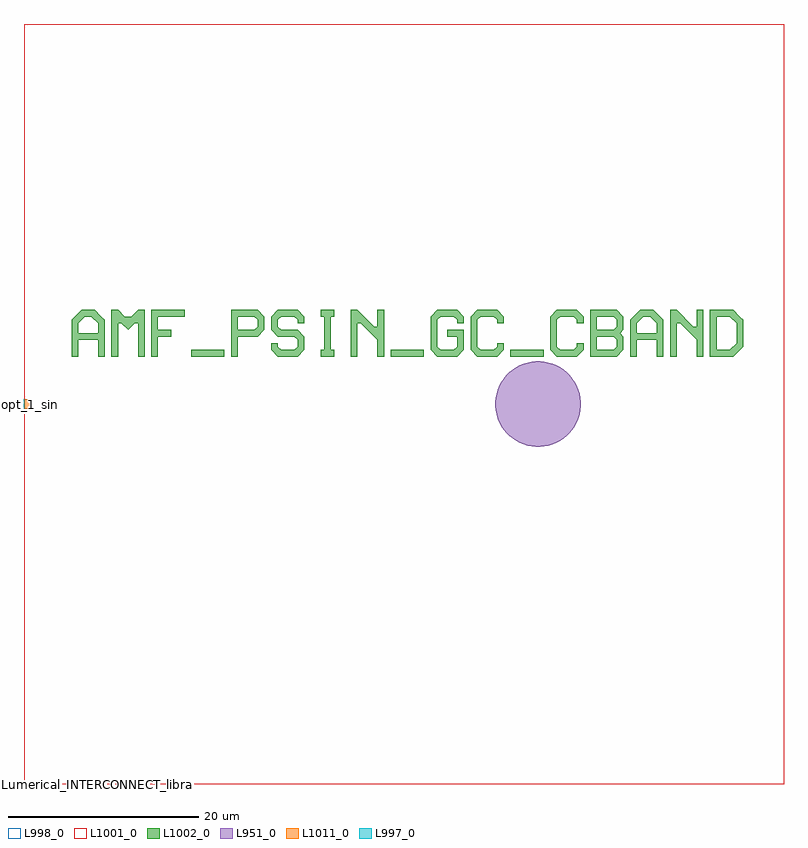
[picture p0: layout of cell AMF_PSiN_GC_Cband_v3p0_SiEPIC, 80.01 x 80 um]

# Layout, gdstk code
import gdstk
lib = gdstk.Library(unit=1e-6, precision=1e-09)
def R(c, l, rs):  # rectangles x0, y0, x1, y1
    for r in rs: c.add(gdstk.rectangle(r[:2], r[2:], *l))
def P(c, l, *ps):  # polygons
    for p in ps: c.add(gdstk.Polygon(p, *l))
L951_0 = (951, 0)
L997_0 = (997, 0)
L998_0 = (998, 0)
L1001_0 = (1001, 0)
L1002_0 = (1002, 0)
L1011_0 = (1011, 0)

amf_psin_gc_cband_v3p0 = lib.new_cell('AMF_PSiN_GC_Cband_v3p0')
R(amf_psin_gc_cband_v3p0, L1001_0, [(0,-40,80,40)])
R(amf_psin_gc_cband_v3p0, L1002_0, [(17.6,5,21.1,5.7), (38.6,5,42.1,5.7), (51.2,5,54.7,5.7)])
P(amf_psin_gc_cband_v3p0, L1002_0, [(5,5),(5,8.85),(6.05,9.9),(7.45,9.9),(8.15,9.2),(6.4,9.2),(5.7,8.5),(5.7,7.45),(7.8,7.45),(7.8,8.5),(7.1,9.2),(8.15,9.2),(8.5,8.85),(8.5,5),(7.8,5),(7.8,6.75),(5.7,6.75),(5.7,5)],
  [(9.2,5),(9.2,9.9),(9.9,9.9),(10.6,9.2),(11.3,9.2),(12,9.9),(12.7,9.9),(12.7,5),(12,5),(12,8.5),(11.65,8.5),(10.95,7.8),(10.25,8.5),(9.9,8.5),(9.9,5)],
  [(13.4,5),(13.4,9.9),(16.9,9.9),(16.9,9.2),(14.1,9.2),(14.1,7.8),(15.5,7.8),(15.5,7.1),(14.1,7.1),(14.1,5)],
  [(21.8,5),(21.8,9.9),(24.6,9.9),(25.3,9.2),(25.3,7.8),(24.6,7.1),(22.5,7.1),(22.5,7.8),(24.25,7.8),(24.6,8.15),(24.6,8.85),(24.25,9.2),(22.5,9.2),(22.5,5)],
  [(26.7,5),(26,5.7),(26,6.4),(26.7,6.4),(26.7,6.05),(27.05,5.7),(28.45,5.7),(28.8,6.05),(28.8,6.75),(28.45,7.1),(26.7,7.1),(26,7.8),(26,9.2),(26.7,9.9),(28.8,9.9),(29.5,9.2),(29.5,8.5),(28.8,8.5),(28.8,8.85),(28.45,9.2),(27.05,9.2),(26.7,8.85),(26.7,8.15),(27.05,7.8),(28.8,7.8),(29.5,7.1),(29.5,5.7),(28.8,5)],
  [(31.25,5),(31.25,5.7),(31.6,5.7),(31.6,9.2),(31.25,9.2),(31.25,9.9),(32.65,9.9),(32.65,9.2),(32.3,9.2),(32.3,5.7),(32.65,5.7),(32.65,5)],
  [(34.4,5),(34.4,9.9),(35.1,9.9),(36.85,8.15),(37.2,8.15),(37.2,9.9),(37.9,9.9),(37.9,5),(37.2,5),(37.2,6.75),(35.45,8.5),(35.1,8.5),(35.1,5)],
  [(43.5,5),(42.8,5.7),(42.8,9.2),(43.5,9.9),(45.6,9.9),(46.3,9.2),(46.3,8.5),(45.6,8.5),(45.6,8.85),(45.25,9.2),(43.85,9.2),(43.5,8.85),(43.5,6.05),(43.85,5.7),(45.25,5.7),(45.6,6.05),(45.6,7.1),(44.55,7.1),(44.55,7.8),(46.3,7.8),(46.3,5.7),(45.6,5)],
  [(47.7,5),(47,5.7),(47,9.2),(47.7,9.9),(49.8,9.9),(50.5,9.2),(50.5,8.5),(49.8,8.5),(49.8,8.85),(49.45,9.2),(48.05,9.2),(47.7,8.85),(47.7,6.05),(48.05,5.7),(49.45,5.7),(49.8,6.05),(49.8,6.4),(50.5,6.4),(50.5,5.7),(49.8,5)],
  [(56.1,5),(55.4,5.7),(55.4,9.2),(56.1,9.9),(58.2,9.9),(58.9,9.2),(58.9,8.5),(58.2,8.5),(58.2,8.85),(57.85,9.2),(56.45,9.2),(56.1,8.85),(56.1,6.05),(56.45,5.7),(57.85,5.7),(58.2,6.05),(58.2,6.4),(58.9,6.4),(58.9,5.7),(58.2,5)],
  [(59.6,5),(59.6,9.9),(62.4,9.9),(63.1,9.2),(60.3,9.2),(60.3,7.8),(62.05,7.8),(62.4,8.15),(62.4,8.85),(62.05,9.2),(63.1,9.2),(63.1,7.8),(62.75,7.45),(63.1,7.1),(60.3,7.1),(60.3,5.7),(62.05,5.7),(62.4,6.05),(62.4,6.75),(62.05,7.1),(63.1,7.1),(63.1,5.7),(62.4,5)],
  [(63.8,5),(63.8,8.85),(64.85,9.9),(66.25,9.9),(66.95,9.2),(65.2,9.2),(64.5,8.5),(64.5,7.45),(66.6,7.45),(66.6,8.5),(65.9,9.2),(66.95,9.2),(67.3,8.85),(67.3,5),(66.6,5),(66.6,6.75),(64.5,6.75),(64.5,5)],
  [(68,5),(68,9.9),(68.7,9.9),(70.45,8.15),(70.8,8.15),(70.8,9.9),(71.5,9.9),(71.5,5),(70.8,5),(70.8,6.75),(69.05,8.5),(68.7,8.5),(68.7,5)],
  [(72.2,5),(72.2,9.9),(74.65,9.9),(75.35,9.2),(72.9,9.2),(72.9,5.7),(74.3,5.7),(75,6.4),(75,8.5),(74.3,9.2),(75.35,9.2),(75.7,8.85),(75.7,6.05),(74.65,5)])
R(amf_psin_gc_cband_v3p0, L1011_0, [(0,-0.5,1,0.5)])
amf_psin_gc_cband_v3p0.add(gdstk.Label('opt_1_sin', (0,0), layer=1011, texttype=0))

amf_psin_gc_cband_v3p0_s = lib.new_cell('AMF_PSiN_GC_Cband_v3p0_SiEPIC')
P(amf_psin_gc_cband_v3p0_s, L951_0, [(53.889,-4.51),(53.449,-4.467),(53.015,-4.38),(52.592,-4.252),(52.184,-4.083),(51.794,-3.874),(51.426,-3.629),(51.084,-3.348),(50.772,-3.036),(50.491,-2.694),(50.246,-2.326),(50.037,-1.936),(49.868,-1.528),(49.74,-1.105),(49.653,-0.671),(49.61,-0.231),(49.61,0.211),(49.653,0.651),(49.74,1.085),(49.868,1.508),(50.037,1.916),(50.246,2.306),(50.491,2.674),(50.772,3.016),(51.084,3.328),(51.426,3.609),(51.794,3.854),(52.184,4.063),(52.592,4.232),(53.015,4.36),(53.449,4.447),(53.889,4.49),(54.331,4.49),(54.771,4.447),(55.205,4.36),(55.628,4.232),(56.036,4.063),(56.426,3.854),(56.794,3.609),(57.136,3.328),(57.448,3.016),(57.729,2.674),(57.974,2.306),(58.183,1.916),(58.352,1.508),(58.48,1.085),(58.567,0.651),(58.61,0.211),(58.61,-0.231),(58.567,-0.671),(58.48,-1.105),(58.352,-1.528),(58.183,-1.936),(57.974,-2.326),(57.729,-2.694),(57.448,-3.036),(57.136,-3.348),(56.794,-3.629),(56.426,-3.874),(56.036,-4.083),(55.628,-4.252),(55.205,-4.38),(54.771,-4.467),(54.331,-4.51)])
R(amf_psin_gc_cband_v3p0_s, L998_0, [(0,-40,80,40)])
amf_psin_gc_cband_v3p0_s.add(gdstk.FlexPath([(0.01,0),(-0.01,0)], 1, ends="flush", simple_path=True, layer=997, datatype=0))  # L997_0
amf_psin_gc_cband_v3p0_s.add(gdstk.Reference(amf_psin_gc_cband_v3p0, (0,0)))
amf_psin_gc_cband_v3p0_s.add(gdstk.Label('Lumerical_INTERCONNECT_library=Design kits/AMF_CML', (0,-40), layer=998, texttype=0))
amf_psin_gc_cband_v3p0_s.add(gdstk.Label('Component=AMF_PSiN_GC_Cband_v3p0', (0,-39.9), layer=998, texttype=0))
amf_psin_gc_cband_v3p0_s.add(gdstk.Label('opt_1_sin', (0,0), layer=997, texttype=0))
amf_psin_gc_cband_v3p0_s.add(gdstk.Label('opt_1_sin', (0,0), layer=997, texttype=0))

lib.write_gds('AMF_PSiN_GC_Cband_v3p0_SiEPIC.gds')
